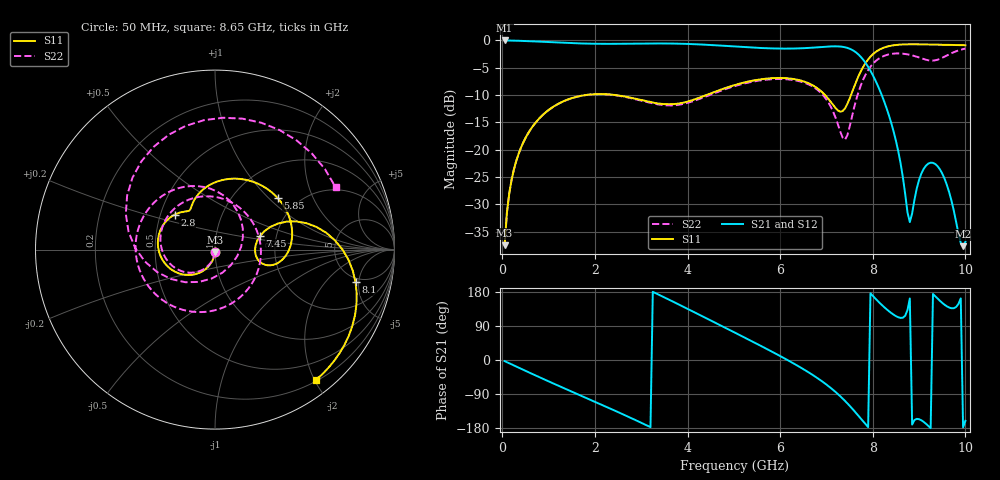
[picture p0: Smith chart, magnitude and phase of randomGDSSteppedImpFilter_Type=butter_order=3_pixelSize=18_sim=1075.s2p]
! freq	dB(S11)	phase(S11)	dB(S12)	phase(S12)
!  dB(S21)	phase(S21)	dB(S22)	phase(S22)
!S-par simulation data
#  GHz  S  DB  R 50
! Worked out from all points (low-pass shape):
!   200 points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, 50 MHz to 10 GHz, reference 50 ohm
!   highest |S21| = -0.01 dB at 50 MHz (marker M1); lowest = -37.6 dB at 9.95 GHz (marker M2)
!   |S21| within 3 dB of the highest: start of sweep to 7.741 GHz
!   lowest |S11| = -37.4 dB at 50 MHz (marker M3), VSWR 1.03, Z = 49.9 - j1.34 ohm
!   |S11| at or under -10 dB: start of sweep to 1.791 GHz; 2.45 GHz to 4.406 GHz (1.955 GHz wide, 57 % of centre); 6.969 GHz to 7.529 GHz (559.3 MHz wide, 7.72 % of centre)
!   |S22| runs from -37.4 to -1.5 dB; largest |S21 - S12| = 0
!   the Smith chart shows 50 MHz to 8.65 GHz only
!   S11 on the Smith chart (normalised r, x): 50 MHz: 1.00, -0.03; 2.8 GHz: 0.59, +0.25; 5.85 GHz: 1.57, +1.14; 7.45 GHz: 1.64, +0.27; 8.1 GHz: 4.43, -4.53; 8.65 GHz: 0.22, -2.01
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0.05  -37.45 -92.1  -0.01 -2.9  -0.01 -2.9  -37.45 -92.4
0.2  -25.52 -101.0  -0.03 -11.5  -0.03 -11.5  -25.53 -102.2
0.5  -17.87 -117.5  -0.11 -28.6  -0.11 -28.6  -17.87 -120.6
1.75  -10.05 -179.7  -0.57 -96.9  -0.57 -96.9  -10.07 164.7
2.8  -10.53 139.2  -0.60 -154.2  -0.60 -154.2  -10.60 91.6
3.4  -11.57 126.0  -0.56 171.1  -0.56 171.1  -11.75 35.6
4.3  -10.34 111.5  -0.75 116.7  -0.75 116.7  -10.56 -59.2
5.05  -8.08 82.0  -1.13 70.5  -1.13 70.5  -8.27 -121.8
5.85  -6.89 39.6  -1.47 20.2  -1.47 20.2  -7.09 -179.2
6.7  -8.19 -6.4  -1.33 -39.2  -1.33 -39.2  -8.43 110.8
7.15  -11.88 -14.8  -1.08 -79.5  -1.08 -79.5  -13.14 48.8
7.45  -11.65 16.8  -1.36 -114.2  -1.36 -114.2  -17.37 -72.4
7.85  -4.06 8.6  -4.18 -170.0  -4.18 -170.0  -6.16 168.3
8.1  -1.90 -13.0  -8.11 156.5  -8.11 156.5  -3.52 120.8
8.35  -1.04 -32.8  -13.74 128.6  -13.74 128.6  -2.55 78.2
8.65  -0.74 -52.4  -25.03 111.6  -25.03 111.6  -2.43 27.4
8.8  -0.70 -60.9  -33.23 162.4  -33.23 162.4  -2.63 -0.6
9.2  -0.75 -80.4  -22.53 -173.9  -22.53 -173.9  -3.63 -98.1
9.5  -0.79 -93.3  -24.35 150.8  -24.35 150.8  -3.18 171.7
9.7  -0.82 -101.5  -29.34 136.6  -29.34 136.6  -2.34 122.1
9.95  -0.88 -111.4  -37.63 -177.9  -37.63 -177.9  -1.58 76.6
10  -0.89 -113.3  -36.84 -160.6  -36.84 -160.6  -1.48 69.2
